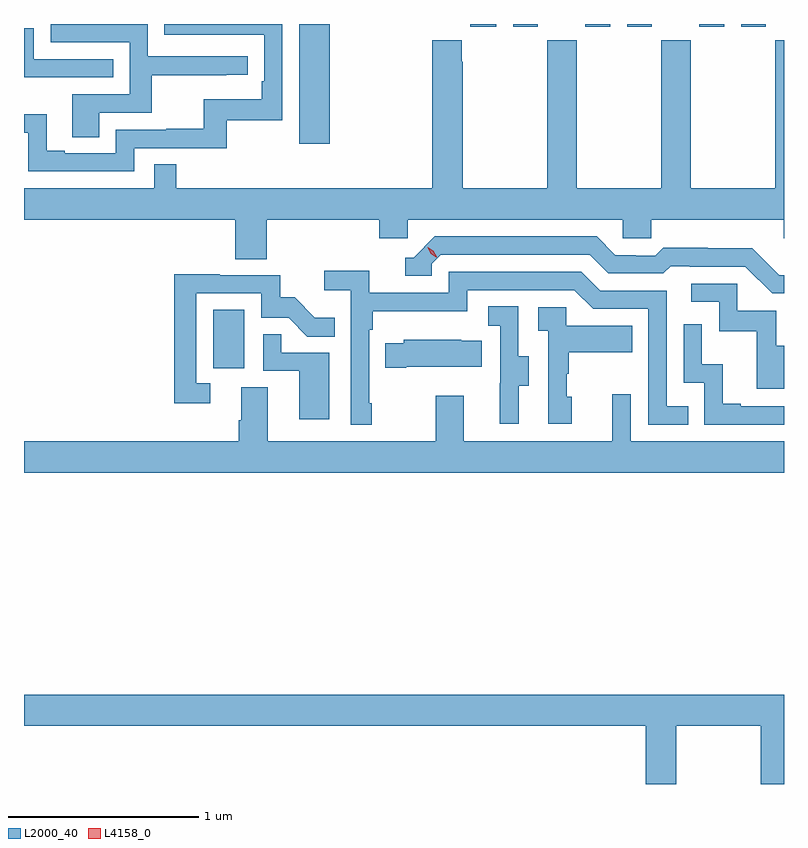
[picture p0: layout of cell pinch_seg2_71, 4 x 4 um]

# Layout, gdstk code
import gdstk
lib = gdstk.Library(unit=1e-6, precision=1e-09)
def R(c, l, rs):  # rectangles x0, y0, x1, y1
    for r in rs: c.add(gdstk.rectangle(r[:2], r[2:], *l))
def P(c, l, *ps):  # polygons
    for p in ps: c.add(gdstk.Polygon(p, *l))
L2000_40 = (2000, 40)
L4158_0 = (4158, 0)

pinch_seg2_71 = lib.new_cell('pinch_seg2_71')
R(pinch_seg2_71, L2000_40, [(1045.772,646.854,1045.936,647.161), (1046.225,648.036,1046.386,648.665), (1047.125,648.651,1047.262,648.665), (1047.35,648.651,1047.481,648.665), (1047.731,648.651,1047.862,648.665), (1047.95,648.651,1048.081,648.665), (1048.331,648.651,1048.462,648.665), (1048.55,648.651,1048.681,648.665)])
P(pinch_seg2_71, L2000_40, [(1045.171,648.198),(1045.448,648.198),(1045.448,648.394),(1045.841,648.394),(1045.841,648.399),(1045.954,648.399),(1045.954,648.495),(1045.428,648.495),(1045.428,648.665),(1044.916,648.665),(1044.916,648.57),(1045.332,648.57),(1045.332,648.294),(1045.031,648.294),(1045.031,648.07),(1045.171,648.07)],
  [(1045.356,648.012),(1045.843,648.012),(1045.843,648.159),(1046.136,648.159),(1046.136,648.665),(1045.513,648.665),(1045.513,648.608),(1045.727,648.608),(1045.727,648.609),(1046.04,648.609),(1046.04,648.364),(1046.027,648.364),(1046.027,648.268),(1045.722,648.268),(1045.722,648.113),(1045.525,648.113),(1045.525,648.108),(1045.26,648.108),(1045.26,647.985),(1044.991,647.985),(1044.991,647.998),(1044.895,647.998),(1044.895,648.191),(1044.776,648.191),(1044.776,648.093),(1044.798,648.093),(1044.798,647.889),(1045.356,647.889)],
  [(1045.247,648.48),(1044.828,648.48),(1044.828,648.643),(1044.776,648.643),(1044.776,648.384),(1045.247,648.384)],
  [(1047.927,647.538),(1048.077,647.538),(1048.077,647.636),(1048.775,647.636),(1048.775,647.538),(1048.776,647.538),(1048.776,648.58),(1048.729,648.58),(1048.729,647.8),(1048.284,647.8),(1048.284,648.58),(1048.129,648.58),(1048.129,647.8),(1047.684,647.8),(1047.684,648.58),(1047.529,648.58),(1047.529,647.8),(1047.084,647.8),(1047.084,648.467),(1047.079,648.467),(1047.079,648.58),(1046.924,648.58),(1046.924,647.8),(1045.577,647.8),(1045.577,647.927),(1045.461,647.927),(1045.461,647.8),(1044.776,647.8),(1044.776,647.636),(1045.889,647.636),(1045.889,647.428),(1046.054,647.428),(1046.054,647.636),(1046.645,647.636),(1046.645,647.538),(1046.796,647.538),(1046.796,647.636),(1047.927,647.636)],
  [(1048.776,647.343),(1048.752,647.343),(1048.61,647.485),(1048.374,647.485),(1048.374,647.488),(1048.141,647.488),(1048.099,647.445),(1047.996,647.445),(1047.996,647.448),(1047.889,647.448),(1047.79,647.547),(1046.937,647.547),(1046.826,647.436),(1046.783,647.436),(1046.783,647.34),(1046.922,647.34),(1046.922,647.403),(1046.97,647.451),(1047.753,647.451),(1047.852,647.352),(1048.141,647.352),(1048.18,647.391),(1048.279,647.391),(1048.279,647.388),(1048.572,647.388),(1048.713,647.247),(1048.776,647.247)],
  [(1046.605,646.669),(1046.592,646.669),(1046.592,647.057),(1046.612,647.057),(1046.612,647.153),(1047.108,647.153),(1047.108,647.265),(1047.672,647.265),(1047.771,647.166),(1048.062,647.166),(1048.062,646.557),(1048.271,646.557),(1048.271,646.653),(1048.158,646.653),(1048.158,647.262),(1047.808,647.262),(1047.709,647.361),(1047.012,647.361),(1047.012,647.25),(1046.594,647.25),(1046.594,647.366),(1046.355,647.366),(1046.355,647.264),(1046.496,647.264),(1046.496,646.557),(1046.605,646.557)],
  [(1045.756,646.773),(1045.683,646.773),(1045.683,647.247),(1046.025,647.247),(1046.025,647.118),(1046.169,647.118),(1046.267,647.02),(1046.411,647.02),(1046.411,647.119),(1046.307,647.119),(1046.2,647.226),(1046.124,647.226),(1046.124,647.343),(1045.805,647.343),(1045.805,647.348),(1045.567,647.348),(1045.567,646.668),(1045.756,646.668)],
  [(1048.776,646.971),(1048.735,646.971),(1048.735,647.157),(1048.53,647.157),(1048.53,647.298),(1048.287,647.298),(1048.287,647.202),(1048.434,647.202),(1048.434,647.049),(1048.633,647.049),(1048.633,646.746),(1048.776,646.746)],
  [(1047.379,646.762),(1047.433,646.762),(1047.433,646.917),(1047.378,646.917),(1047.378,647.18),(1047.219,647.18),(1047.219,647.077),(1047.282,647.077),(1047.282,646.773),(1047.281,646.773),(1047.281,646.56),(1047.379,646.56)],
  [(1047.658,646.704),(1047.633,646.704),(1047.633,646.823),(1047.643,646.823),(1047.643,646.937),(1047.977,646.937),(1047.977,647.077),(1047.63,647.077),(1047.63,647.175),(1047.483,647.175),(1047.483,647.051),(1047.534,647.051),(1047.534,646.56),(1047.658,646.56)],
  [(1048.776,646.653),(1048.549,646.653),(1048.549,646.666),(1048.454,646.666),(1048.454,646.874),(1048.344,646.874),(1048.344,647.086),(1048.248,647.086),(1048.248,646.776),(1048.356,646.776),(1048.356,646.557),(1048.776,646.557)],
  [(1046.383,646.935),(1046.129,646.935),(1046.129,647.033),(1046.034,647.033),(1046.034,646.839),(1046.225,646.839),(1046.225,646.584),(1046.383,646.584)],
  [(1046.788,646.862),(1047.185,646.862),(1047.185,646.999),(1047.077,646.999),(1047.077,647.002),(1046.775,647.002),(1046.775,646.984),(1046.677,646.984),(1046.677,646.855),(1046.788,646.855)],
  [(1048.776,646.468),(1047.969,646.468),(1047.969,646.717),(1047.872,646.717),(1047.872,646.468),(1047.091,646.468),(1047.091,646.708),(1046.944,646.708),(1046.944,646.468),(1046.059,646.468),(1046.059,646.754),(1045.919,646.754),(1045.919,646.58),(1045.907,646.58),(1045.907,646.468),(1044.776,646.468),(1044.776,646.304),(1048.776,646.304)],
  [(1048.209,644.972),(1048.654,644.972),(1048.654,644.665),(1048.776,644.665),(1048.776,645.136),(1044.776,645.136),(1044.776,644.972),(1048.049,644.972),(1048.049,644.665),(1048.209,644.665)])
P(pinch_seg2_71, L4158_0, [(1046.947,647.438),(1046.916,647.457),(1046.9,647.49),(1046.9,647.49),(1046.9,647.49),(1046.931,647.471),(1046.948,647.439),(1046.948,647.438)])

lib.write_gds('pinch_seg2_71.gds')
